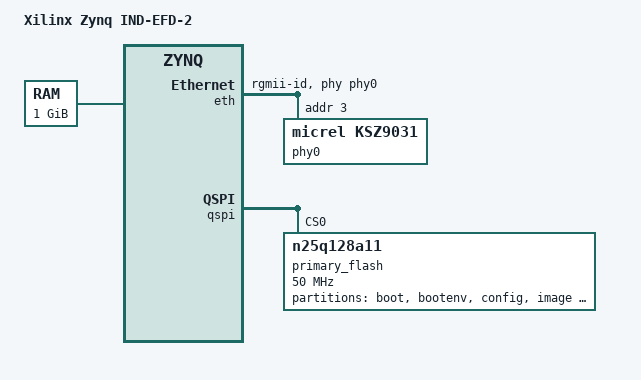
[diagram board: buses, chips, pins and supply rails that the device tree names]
/include/ "zynq.dtsi"

/ {
	model = "Xilinx Zynq IND-EFD-2";
	memory {
		device_type = "memory";
		reg = <0x000000000 0x40000000>;
	};

	chosen {
		bootargs = "console=ttyPS0,115200 root=/dev/ram rw initrd=0x1100000,33M ip=:::::eth0:dhcp earlyprintk";
//		bootargs = "console=ttyPS0,115200 root=/dev/mmcblk0p2 rw earlyprintk rootfstype=ext4 rootwait";
		linux,stdout-path = "/amba@0/uart@E0001000";
	};
};

&eth {
	phy-handle = <&phy0>;
	phy-mode = "rgmii-id";
	phy-reset-gpio = <&gpio0 0 0>;
	phy-reset-active-low;

	phy0: phy@0 {
	   compatible = "micrel,ksz9031";
	   device_type = "ethernet-phy";
		reg = <0x3>;
	};
};

&usb0 {
	xlnx,phy-reset-gpio = <&gpio0 11 0>;
};

&qspi {
	status = "okay";
	is-dual = <0>;
	num-cs = <1>;
	primary_flash: ps7-qspi@0 {
		#address-cells = <1>;
		#size-cells = <1>;
		compatible = "n25q128a11";
		reg = <0x0>;
		spi-max-frequency = <50000000>;
		partition@0x00000000 {
			label = "boot";
			reg = <0x00000000 0x00500000>;
		};
		partition@0x00500000 {
			label = "bootenv";
			reg = <0x00500000 0x00020000>;
		};
		partition@0x00520000 {
			label = "config";
			reg = <0x00520000 0x00020000>;
		};
		partition@0x00540000 {
			label = "image";
			reg = <0x00540000 0x00a80000>;
		};
		partition@0x00fc0000 {
			label = "spare";
			reg = <0x00fc0000 0x00000000>;
		};
	};
};
